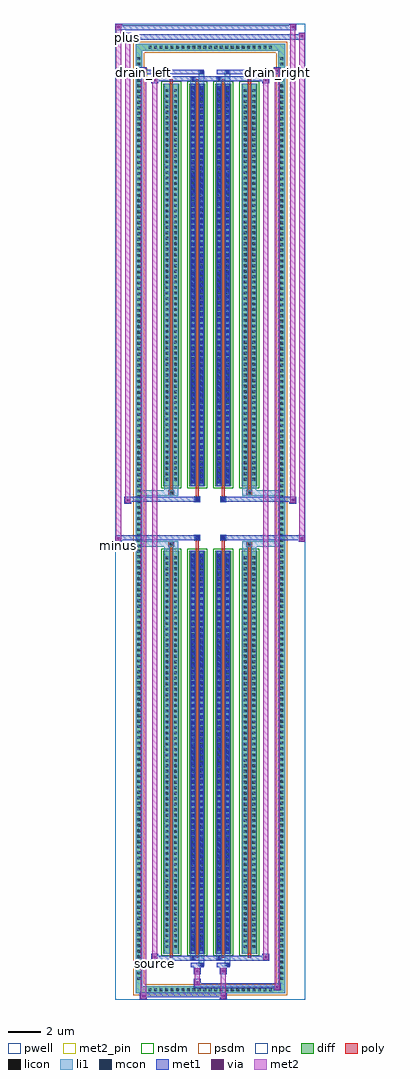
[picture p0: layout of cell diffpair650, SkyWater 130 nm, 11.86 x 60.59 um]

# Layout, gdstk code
import gdstk
lib = gdstk.Library(unit=1e-6, precision=5e-09)
def R(c, l, rs):  # rectangles x0, y0, x1, y1
    for r in rs: c.add(gdstk.rectangle(r[:2], r[2:], *l))
def A(c, l, x, y, w, h, nx, ny, dx, dy):  # array of equal rectangles
    R(c, l, [(x+i*dx, y+j*dy, x+i*dx+w, y+j*dy+h) for i in range(nx) for j in range(ny)])
def P(c, l, *ps):  # polygons
    for p in ps: c.add(gdstk.Polygon(p, *l))
pwell = (64, 44)
diff = (65, 20)
poly = (66, 20)
licon = (66, 44)
li1 = (67, 20)
mcon = (67, 44)
met1 = (68, 20)
via = (68, 44)
met2_pin = (69, 16)
met2 = (69, 20)
nsdm = (93, 44)
psdm = (94, 20)
npc = (95, 20)

diffpair650 = lib.new_cell('diffpair650')
R(diffpair650, pwell, [(-5.91,-29.86,5.91,30.73), (-3.23,-28.05,-0.01,-0.825), (0.01,-28.05,3.23,-0.825), (-3.23,0.825,-0.01,28.05), (0.01,0.825,3.23,28.05)])
A(diffpair650, diff, -3.945, -29.46, 0.41, 0.41, 23, 2, 0.34, 58.51)
A(diffpair650, diff, -4.64, -28.765, 0.41, 0.41, 1, 169, 0, 0.34)
A(diffpair650, diff, 4.23, -28.765, 0.41, 0.41, 1, 169, 0, 0.34)
A(diffpair650, diff, -2.92, -27.005, 0.98, 25, 4, 2, 1.62, 29.01)
R(diffpair650, diff, [(-3.945,-29.46,3.945,-29.05), (-4.64,-28.765,-4.23,28.765), (4.23,-28.765,4.64,28.765), (-3.945,29.05,3.945,29.46)])
P(diffpair650, diff, [(4.64,29.46),(-4.64,29.46),(-4.64,-29.05),(-4.23,-29.05),(-4.23,29.05),(4.23,29.05),(4.23,-29.05),(-4.23,-29.05),(-4.64,-29.05),(-4.64,-29.46),(4.64,-29.46)])
A(diffpair650, poly, -2.53, -27.255, 0.2, 25.5, 4, 2, 1.62, 29.01)
R(diffpair650, poly, [(-2.595,-1.755,-2.265,-1.425), (-2.595,-1.755,-2.265,-1.425), (-0.91,-1.755,-0.71,-1.355), (0.71,-1.755,0.91,-1.355), (2.265,-1.755,2.595,-1.425), (2.265,-1.755,2.595,-1.425), (-0.975,-1.355,-0.645,-1.025), (-0.975,-1.355,-0.645,-1.025), (0.645,-1.355,0.975,-1.025), (0.645,-1.355,0.975,-1.025), (-0.975,1.025,-0.645,1.355), (-0.975,1.025,-0.645,1.355), (0.645,1.025,0.975,1.355), (0.645,1.025,0.975,1.355), (-0.91,1.355,-0.71,1.755), (0.71,1.355,0.91,1.755), (-2.595,1.425,-2.265,1.755), (-2.595,1.425,-2.265,1.755), (2.265,1.425,2.595,1.755), (2.265,1.425,2.595,1.755)])
A(diffpair650, licon, -3.825, -29.34, 0.17, 0.17, 23, 2, 0.34, 58.51)
A(diffpair650, licon, -4.52, -28.645, 0.17, 0.17, 1, 169, 0, 0.34)
A(diffpair650, licon, 4.35, -28.645, 0.17, 0.17, 1, 169, 0, 0.34)
A(diffpair650, licon, -2.78, -26.66, 0.17, 0.17, 1, 72, 0, 0.34)
A(diffpair650, licon, -2.25, -26.66, 0.17, 0.17, 1, 72, 0, 0.34)
A(diffpair650, licon, -1.16, -26.66, 0.17, 0.17, 1, 72, 0, 0.34)
A(diffpair650, licon, -0.63, -26.66, 0.17, 0.17, 1, 72, 0, 0.34)
A(diffpair650, licon, 0.46, -26.66, 0.17, 0.17, 1, 72, 0, 0.34)
A(diffpair650, licon, 0.99, -26.66, 0.17, 0.17, 1, 72, 0, 0.34)
A(diffpair650, licon, 2.08, -26.66, 0.17, 0.17, 1, 72, 0, 0.34)
A(diffpair650, licon, 2.61, -26.66, 0.17, 0.17, 1, 72, 0, 0.34)
A(diffpair650, licon, -2.78, 2.35, 0.17, 0.17, 1, 72, 0, 0.34)
A(diffpair650, licon, -2.25, 2.35, 0.17, 0.17, 1, 72, 0, 0.34)
A(diffpair650, licon, -1.16, 2.35, 0.17, 0.17, 1, 72, 0, 0.34)
A(diffpair650, licon, -0.63, 2.35, 0.17, 0.17, 1, 72, 0, 0.34)
A(diffpair650, licon, 0.46, 2.35, 0.17, 0.17, 1, 72, 0, 0.34)
A(diffpair650, licon, 0.99, 2.35, 0.17, 0.17, 1, 72, 0, 0.34)
A(diffpair650, licon, 2.08, 2.35, 0.17, 0.17, 1, 72, 0, 0.34)
A(diffpair650, licon, 2.61, 2.35, 0.17, 0.17, 1, 72, 0, 0.34)
R(diffpair650, licon, [(-2.515,-1.675,-2.345,-1.505), (2.345,-1.675,2.515,-1.505), (-0.895,-1.275,-0.725,-1.105), (0.725,-1.275,0.895,-1.105), (-0.895,1.105,-0.725,1.275), (0.725,1.105,0.895,1.275), (-2.515,1.505,-2.345,1.675), (2.345,1.505,2.515,1.675)])
A(diffpair650, li1, -3.905, -29.42, 0.33, 0.33, 23, 2, 0.34, 58.51)
A(diffpair650, li1, -4.6, -28.725, 0.33, 0.33, 1, 169, 0, 0.34)
A(diffpair650, li1, 4.27, -28.725, 0.33, 0.33, 1, 169, 0, 0.34)
A(diffpair650, li1, -1.16, -26.83, 0.17, 0.17, 1, 69, 0, 0.36)
A(diffpair650, li1, -0.63, -26.83, 0.17, 0.17, 1, 69, 0, 0.36)
A(diffpair650, li1, 0.46, -26.83, 0.17, 0.17, 1, 69, 0, 0.36)
A(diffpair650, li1, 0.99, -26.83, 0.17, 0.17, 1, 69, 0, 0.36)
A(diffpair650, li1, -2.86, -26.74, 0.33, 0.33, 1, 72, 0, 0.34)
A(diffpair650, li1, -2.33, -26.74, 0.33, 0.33, 1, 72, 0, 0.34)
A(diffpair650, li1, -1.24, -26.74, 0.33, 0.33, 1, 72, 0, 0.34)
A(diffpair650, li1, -0.71, -26.74, 0.33, 0.33, 1, 72, 0, 0.34)
A(diffpair650, li1, 0.38, -26.74, 0.33, 0.33, 1, 72, 0, 0.34)
A(diffpair650, li1, 0.91, -26.74, 0.33, 0.33, 1, 72, 0, 0.34)
A(diffpair650, li1, 2, -26.74, 0.33, 0.33, 1, 72, 0, 0.34)
A(diffpair650, li1, 2.53, -26.74, 0.33, 0.33, 1, 72, 0, 0.34)
A(diffpair650, li1, -1.16, 2.18, 0.17, 0.17, 1, 69, 0, 0.36)
A(diffpair650, li1, -0.63, 2.18, 0.17, 0.17, 1, 69, 0, 0.36)
A(diffpair650, li1, 0.46, 2.18, 0.17, 0.17, 1, 69, 0, 0.36)
A(diffpair650, li1, 0.99, 2.18, 0.17, 0.17, 1, 69, 0, 0.36)
A(diffpair650, li1, -2.86, 2.27, 0.33, 0.33, 1, 72, 0, 0.34)
A(diffpair650, li1, -2.33, 2.27, 0.33, 0.33, 1, 72, 0, 0.34)
A(diffpair650, li1, -1.24, 2.27, 0.33, 0.33, 1, 72, 0, 0.34)
A(diffpair650, li1, -0.71, 2.27, 0.33, 0.33, 1, 72, 0, 0.34)
A(diffpair650, li1, 0.38, 2.27, 0.33, 0.33, 1, 72, 0, 0.34)
A(diffpair650, li1, 0.91, 2.27, 0.33, 0.33, 1, 72, 0, 0.34)
A(diffpair650, li1, 2, 2.27, 0.33, 0.33, 1, 72, 0, 0.34)
A(diffpair650, li1, 2.53, 2.27, 0.33, 0.33, 1, 72, 0, 0.34)
R(diffpair650, li1, [(-4.64,-29.46,-4.23,-29.05), (-4.64,-29.46,-4.23,-29.05), (-4.23,-29.46,4.23,-29.05), (4.23,-29.46,4.64,-29.05), (4.23,-29.46,4.64,-29.05), (-4.64,-29.05,-4.23,29.05), (4.23,-29.05,4.64,29.05), (-0.71,-27.81,-0.38,-27.005), (-0.63,-27.81,-0.46,-27.64), (0.91,-27.81,1.24,-27.005), (0.99,-27.81,1.16,-27.64), (-1.24,-27.38,-0.91,-27.005), (-1.16,-27.38,-0.99,-27.21), (0.38,-27.38,0.71,-27.005), (0.46,-27.38,0.63,-27.21), (-2.86,-27.005,-2.53,-2.005), (-2.33,-27.005,-2,-2.005), (-1.24,-27.005,-0.91,-2.005), (-0.71,-27.005,-0.38,-2.005), (0.38,-27.005,0.71,-2.005), (0.91,-27.005,1.24,-2.005), (2,-27.005,2.33,-2.005), (2.53,-27.005,2.86,-2.005), (-1.16,-26.83,-0.99,-2.18), (-0.63,-26.83,-0.46,-2.18), (0.46,-26.83,0.63,-2.18), (0.99,-26.83,1.16,-2.18), (-2.86,-2.005,-2.53,-1.425), (-2.33,-2.005,-2,-1.425), (2,-2.005,2.33,-1.425), (2.53,-2.005,2.86,-1.425), (-4.64,-1.755,-2.595,-1.425), (-2.86,-1.755,-2.595,-1.425), (-2.595,-1.755,-2.265,-1.425), (-2.265,-1.755,-2,-1.425), (2,-1.755,2.265,-1.425), (2.265,-1.755,2.595,-1.425), (2.265,-1.755,4.64,-1.425), (2.595,-1.755,2.86,-1.425), (-0.975,-1.355,-0.645,-1.025), (0.645,-1.355,0.975,-1.025), (-0.975,1.025,-0.645,1.355), (0.645,1.025,0.975,1.355), (-4.64,1.425,-2.595,1.755), (-2.86,1.425,-2.595,1.755), (-2.86,1.425,-2.53,2.005), (-2.595,1.425,-2.265,1.755), (-2.33,1.425,-2,2.005), (-2.265,1.425,-2,1.755), (2,1.425,2.265,1.755), (2,1.425,2.33,2.005), (2.265,1.425,2.595,1.755), (2.265,1.425,4.64,1.755), (2.53,1.425,2.86,2.005), (2.595,1.425,2.86,1.755), (-2.86,2.005,-2.53,27.005), (-2.33,2.005,-2,27.005), (-1.24,2.005,-0.91,27.005), (-0.71,2.005,-0.38,27.005), (0.38,2.005,0.71,27.005), (0.91,2.005,1.24,27.005), (2,2.005,2.33,27.005), (2.53,2.005,2.86,27.005), (-1.16,2.18,-0.99,26.83), (-0.63,2.18,-0.46,26.83), (0.46,2.18,0.63,26.83), (0.99,2.18,1.16,26.83), (-1.24,27.005,-0.91,27.38), (-0.71,27.005,-0.38,27.81), (0.38,27.005,0.71,27.38), (0.91,27.005,1.24,27.81), (-1.16,27.21,-0.99,27.38), (0.46,27.21,0.63,27.38), (-0.63,27.64,-0.46,27.81), (0.99,27.64,1.16,27.81), (-4.64,29.05,-4.23,29.46), (-4.64,29.05,-4.23,29.46), (-4.23,29.05,4.23,29.46), (4.23,29.05,4.64,29.46), (4.23,29.05,4.64,29.46)])
A(diffpair650, mcon, -1.16, -26.83, 0.17, 0.17, 1, 69, 0, 0.36)
A(diffpair650, mcon, -0.63, -26.83, 0.17, 0.17, 1, 69, 0, 0.36)
A(diffpair650, mcon, 0.46, -26.83, 0.17, 0.17, 1, 69, 0, 0.36)
A(diffpair650, mcon, 0.99, -26.83, 0.17, 0.17, 1, 69, 0, 0.36)
A(diffpair650, mcon, -1.16, 2.18, 0.17, 0.17, 1, 69, 0, 0.36)
A(diffpair650, mcon, -0.63, 2.18, 0.17, 0.17, 1, 69, 0, 0.36)
A(diffpair650, mcon, 0.46, 2.18, 0.17, 0.17, 1, 69, 0, 0.36)
A(diffpair650, mcon, 0.99, 2.18, 0.17, 0.17, 1, 69, 0, 0.36)
R(diffpair650, mcon, [(-0.63,-27.81,-0.46,-27.64), (0.99,-27.81,1.16,-27.64), (-1.16,-27.38,-0.99,-27.21), (0.46,-27.38,0.63,-27.21), (-0.895,-1.275,-0.725,-1.105), (0.725,-1.275,0.895,-1.105), (-0.895,1.105,-0.725,1.275), (0.725,1.105,0.895,1.275), (-1.16,27.21,-0.99,27.38), (0.46,27.21,0.63,27.38), (-0.63,27.64,-0.46,27.81), (0.99,27.64,1.16,27.81)])
A(diffpair650, met1, -1.22, -26.89, 0.29, 0.29, 1, 69, 0, 0.36)
A(diffpair650, met1, -0.69, -26.89, 0.29, 0.29, 1, 69, 0, 0.36)
A(diffpair650, met1, 0.4, -26.89, 0.29, 0.29, 1, 69, 0, 0.36)
A(diffpair650, met1, 0.93, -26.89, 0.29, 0.29, 1, 69, 0, 0.36)
A(diffpair650, met1, -1.22, 2.12, 0.29, 0.29, 1, 69, 0, 0.36)
A(diffpair650, met1, -0.69, 2.12, 0.29, 0.29, 1, 69, 0, 0.36)
A(diffpair650, met1, 0.4, 2.12, 0.29, 0.29, 1, 69, 0, 0.36)
A(diffpair650, met1, 0.93, 2.12, 0.29, 0.29, 1, 69, 0, 0.36)
R(diffpair650, met1, [(-4.37,-29.86,-3.94,-29.43), (0.595,-29.86,1.025,-29.43), (-4.37,-29.72,1.025,-29.43), (3.94,-29.29,4.37,-28.86), (-1.025,-29.15,4.37,-28.86), (-1.025,-29.01,-0.595,-28.58), (-1.025,-28.3,-0.595,-27.87), (0.595,-28.3,1.025,-27.87), (-1.22,-27.87,-0.4,-27.58), (-0.69,-27.87,-0.4,-27.58), (0.4,-27.87,1.22,-27.58), (0.93,-27.87,1.22,-27.58), (-3.66,-27.44,-3.23,-27.01), (-3.66,-27.44,-1.22,-27.15), (-1.22,-27.44,-0.93,-27.15), (-1.22,-27.44,-0.4,-27.15), (-0.4,-27.44,0.4,-27.15), (0.4,-27.44,0.69,-27.15), (0.4,-27.44,1.22,-27.15), (1.22,-27.44,3.66,-27.15), (3.23,-27.44,3.66,-27.01), (-1.22,-27.005,-0.93,-2.005), (-0.69,-27.005,-0.4,-2.005), (0.4,-27.005,0.69,-2.005), (0.93,-27.005,1.22,-2.005), (-5.91,-1.455,-5.48,-1.025), (5.48,-1.455,5.91,-1.025), (-5.91,-1.355,-0.645,-1.025), (-0.975,-1.355,-0.645,-1.025), (0.645,-1.355,0.975,-1.025), (0.645,-1.355,5.91,-1.025), (-0.955,-1.335,-0.665,-1.045), (0.665,-1.335,0.955,-1.045), (-5.34,0.925,-4.91,1.355), (4.91,0.925,5.34,1.355), (-5.34,1.025,-0.975,1.355), (-0.975,1.025,-0.645,1.355), (0.645,1.025,0.975,1.355), (0.975,1.025,5.34,1.355), (-0.955,1.045,-0.665,1.335), (0.665,1.045,0.955,1.335), (-1.22,2.005,-0.93,27.005), (-0.69,2.005,-0.4,27.005), (0.4,2.005,0.69,27.005), (0.93,2.005,1.22,27.005), (-3.66,27.01,-3.23,27.44), (3.23,27.01,3.66,27.44), (-3.66,27.15,-1.22,27.44), (-1.22,27.15,-0.93,27.44), (-1.22,27.15,-0.4,27.44), (-0.4,27.15,0.4,27.44), (0.4,27.15,0.69,27.44), (0.4,27.15,1.22,27.44), (1.22,27.15,3.66,27.44), (-4.37,27.58,-3.94,28.01), (-4.37,27.58,-1.22,27.87), (-1.22,27.58,-0.4,27.87), (-0.69,27.58,-0.4,27.87), (0.4,27.58,1.22,27.87), (0.93,27.58,1.22,27.87), (1.22,27.58,4.37,27.87), (3.94,27.58,4.37,28.01), (-5.34,29.73,-4.91,30.16), (-5.34,29.73,-3.23,30.06), (-3.23,29.73,3.23,30.06), (3.23,29.73,5.91,30.06), (5.48,29.73,5.91,30.16), (-5.91,30.3,-5.48,30.73), (-5.91,30.3,-3.23,30.63), (-3.23,30.3,3.23,30.63), (3.23,30.3,5.34,30.63), (4.91,30.3,5.34,30.73)])
R(diffpair650, via, [(-4.23,-29.72,-4.08,-29.57), (0.735,-29.72,0.885,-29.57), (4.08,-29.15,4.23,-29), (-0.885,-28.87,-0.735,-28.72), (-0.885,-28.16,-0.735,-28.01), (0.735,-28.16,0.885,-28.01), (-3.52,-27.3,-3.37,-27.15), (3.37,-27.3,3.52,-27.15), (-5.77,-1.315,-5.62,-1.165), (5.62,-1.315,5.77,-1.165), (-5.2,1.065,-5.05,1.215), (5.05,1.065,5.2,1.215), (-3.52,27.15,-3.37,27.3), (3.37,27.15,3.52,27.3), (-4.23,27.72,-4.08,27.87), (4.08,27.72,4.23,27.87), (-5.2,29.87,-5.05,30.02), (5.62,29.87,5.77,30.02), (-5.77,30.44,-5.62,30.59), (5.05,30.44,5.2,30.59)])
R(diffpair650, met2_pin, [(-3.695,-27.89,-3.195,-27.39), (-5.945,-1.905,-5.445,-1.405), (-4.405,27.46,-3.905,27.96), (3.905,27.46,4.405,27.96), (-5.375,29.61,-4.875,30.11)])
R(diffpair650, met2, [(-4.32,-29.81,-3.99,-29.48), (-4.32,-29.81,-3.99,27.96), (0.645,-29.81,0.975,-29.48), (0.645,-29.48,0.975,-28.25), (3.99,-29.24,4.32,-28.91), (3.99,-29.24,4.32,27.96), (-0.975,-28.96,-0.645,-28.63), (-0.975,-28.63,-0.645,-28.25), (-0.975,-28.25,-0.645,-27.92), (0.645,-28.25,0.975,-27.92), (-3.61,-27.39,-3.28,-27.06), (-3.61,-27.39,-3.28,27.39), (3.28,-27.39,3.61,-27.06), (3.28,-27.39,3.61,27.39), (-5.86,-1.405,-5.53,-1.075), (-5.86,-1.405,-5.53,30.68), (5.53,-1.405,5.86,-1.075), (5.53,-1.405,5.86,30.11), (-5.29,0.975,-4.96,1.305), (-5.29,0.975,-4.96,30.11), (4.96,0.975,5.29,1.305), (4.96,0.975,5.29,30.68), (-3.61,27.06,-3.28,27.39), (3.28,27.06,3.61,27.39), (-4.32,27.63,-3.99,27.96), (3.99,27.63,4.32,27.96), (-5.29,29.78,-4.96,30.11), (5.53,29.78,5.86,30.11), (-5.86,30.35,-5.53,30.68), (4.96,30.35,5.29,30.68)])
P(diffpair650, met2, [(5.86,-1.405),(5.86,-1.405),(5.86,-1.075),(5.86,-1.075)],
  [(5.86,29.78),(5.86,29.78),(5.86,30.11),(5.86,30.11)],
  [(-5.53,-1.405),(-5.53,-1.405),(-5.53,-1.075),(-5.53,-1.075)],
  [(-5.53,30.35),(-5.53,30.35),(-5.53,30.68),(-5.53,30.68)],
  [(5.29,0.975),(5.29,0.975),(5.29,1.305),(5.29,1.305)],
  [(5.29,30.35),(5.29,30.35),(5.29,30.68),(5.29,30.68)],
  [(-4.96,0.975),(-4.96,0.975),(-4.96,1.305),(-4.96,1.305)],
  [(-4.96,29.78),(-4.96,29.78),(-4.96,30.11),(-4.96,30.11)],
  [(-3.99,-29.81),(-3.99,-29.81),(-3.99,-29.48),(-3.99,-29.48)],
  [(-3.99,27.63),(-3.99,27.63),(-3.99,27.96),(-3.99,27.96)],
  [(4.32,-29.24),(4.32,-29.24),(4.32,-28.91),(4.32,-28.91)],
  [(4.32,27.63),(4.32,27.63),(4.32,27.96),(4.32,27.96)],
  [(-3.28,-27.39),(-3.28,-27.39),(-3.28,-27.06),(-3.28,-27.06)],
  [(-3.28,27.06),(-3.28,27.06),(-3.28,27.39),(-3.28,27.39)],
  [(3.61,-27.39),(3.61,-27.39),(3.61,-27.06),(3.61,-27.06)],
  [(3.61,27.06),(3.61,27.06),(3.61,27.39),(3.61,27.39)])
A(diffpair650, nsdm, -3.05, -27.135, 1.24, 25.26, 4, 2, 1.62, 29.01)
P(diffpair650, psdm, [(4.77,29.59),(-4.77,29.59),(-4.77,-28.92),(-4.1,-28.92),(-4.1,28.92),(4.1,28.92),(4.1,-28.92),(-4.1,-28.92),(-4.77,-28.92),(-4.77,-29.59),(4.77,-29.59)])
R(diffpair650, npc, [(-2.615,-1.775,-2.245,-1.405), (2.245,-1.775,2.615,-1.405), (-0.995,-1.375,-0.625,-1.005), (0.625,-1.375,0.995,-1.005), (-0.995,1.005,-0.625,1.375), (0.625,1.005,0.995,1.375), (-2.615,1.405,-2.245,1.775), (2.245,1.405,2.615,1.775)])
diffpair650.add(gdstk.Label('minus', (-5.695,-1.655), layer=69, texttype=5))
diffpair650.add(gdstk.Label('drain_right', (4.155,27.71), layer=69, texttype=5))
diffpair650.add(gdstk.Label('drain_left', (-4.155,27.71), layer=69, texttype=5))
diffpair650.add(gdstk.Label('source', (-3.445,-27.64), layer=69, texttype=5))
diffpair650.add(gdstk.Label('plus', (-5.125,29.86), layer=69, texttype=5))

lib.write_gds('diffpair650.gds')
